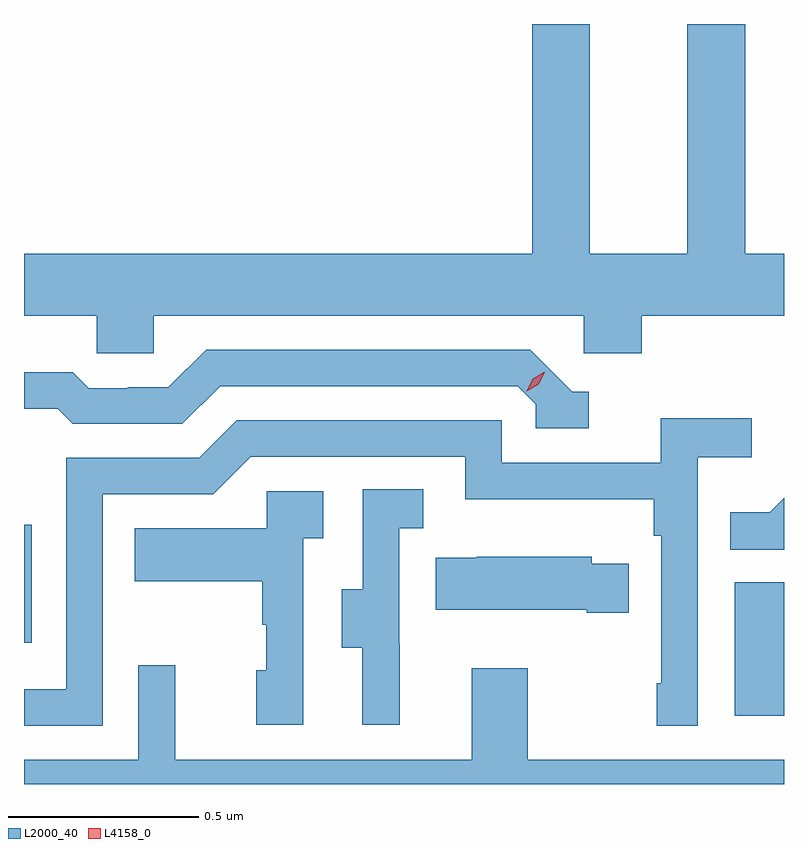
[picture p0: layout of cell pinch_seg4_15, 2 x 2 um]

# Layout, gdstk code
import gdstk
lib = gdstk.Library(unit=1e-6, precision=1e-09)
def R(c, l, rs):  # rectangles x0, y0, x1, y1
    for r in rs: c.add(gdstk.rectangle(r[:2], r[2:], *l))
def P(c, l, *ps):  # polygons
    for p in ps: c.add(gdstk.Polygon(p, *l))
L2000_40 = (2000, 40)
L4158_0 = (4158, 0)

pinch_seg4_15 = lib.new_cell('pinch_seg4_15')
R(pinch_seg4_15, L2000_40, [(1083.536,822.408,1083.665,822.759), (1081.665,822.6,1081.686,822.91)])
P(pinch_seg4_15, L2000_40, [(1082.007,823.46),(1083.138,823.46),(1083.138,823.362),(1083.29,823.362),(1083.29,823.46),(1083.665,823.46),(1083.665,823.624),(1083.563,823.624),(1083.563,824.228),(1083.41,824.228),(1083.41,823.624),(1083.154,823.624),(1083.154,824.228),(1083.002,824.228),(1083.002,823.624),(1081.665,823.624),(1081.665,823.46),(1081.857,823.46),(1081.857,823.362),(1082.007,823.362)],
  [(1083.151,823.26),(1083.108,823.26),(1082.997,823.371),(1082.144,823.371),(1082.045,823.272),(1081.938,823.272),(1081.938,823.269),(1081.835,823.269),(1081.793,823.312),(1081.665,823.312),(1081.665,823.215),(1081.754,823.215),(1081.793,823.176),(1082.082,823.176),(1082.181,823.275),(1082.964,823.275),(1083.012,823.227),(1083.012,823.164),(1083.151,823.164)],
  [(1081.872,822.99),(1082.163,822.99),(1082.262,823.089),(1082.826,823.089),(1082.826,822.977),(1083.322,822.977),(1083.322,822.881),(1083.342,822.881),(1083.342,822.493),(1083.33,822.493),(1083.33,822.381),(1083.438,822.381),(1083.438,823.088),(1083.58,823.088),(1083.58,823.19),(1083.341,823.19),(1083.341,823.074),(1082.922,823.074),(1082.922,823.185),(1082.225,823.185),(1082.126,823.086),(1081.776,823.086),(1081.776,822.477),(1081.665,822.477),(1081.665,822.381),(1081.872,822.381)],
  [(1082.654,822.597),(1082.652,822.597),(1082.652,822.901),(1082.716,822.901),(1082.716,823.004),(1082.556,823.004),(1082.556,822.741),(1082.501,822.741),(1082.501,822.586),(1082.555,822.586),(1082.555,822.384),(1082.654,822.384)],
  [(1082.4,822.875),(1082.452,822.875),(1082.452,822.999),(1082.304,822.999),(1082.304,822.901),(1081.957,822.901),(1081.957,822.761),(1082.292,822.761),(1082.292,822.647),(1082.302,822.647),(1082.302,822.528),(1082.276,822.528),(1082.276,822.384),(1082.4,822.384)],
  [(1083.665,822.981),(1083.627,822.943),(1083.523,822.943),(1083.523,822.844),(1083.665,822.844)],
  [(1083.257,822.808),(1083.159,822.808),(1083.159,822.826),(1082.857,822.826),(1082.857,822.823),(1082.749,822.823),(1082.749,822.686),(1083.146,822.686),(1083.146,822.679),(1083.257,822.679)],
  [(1083.665,822.292),(1082.991,822.292),(1082.991,822.532),(1082.843,822.532),(1082.843,822.292),(1082.063,822.292),(1082.063,822.541),(1081.965,822.541),(1081.965,822.292),(1081.665,822.292),(1081.665,822.228),(1083.665,822.228)])
P(pinch_seg4_15, L4158_0, [(1082.988,823.261),(1082.988,823.262),(1083.004,823.294),(1083.035,823.313),(1083.035,823.313),(1083.035,823.312),(1083.019,823.28),(1082.988,823.261)])

lib.write_gds('pinch_seg4_15.gds')
